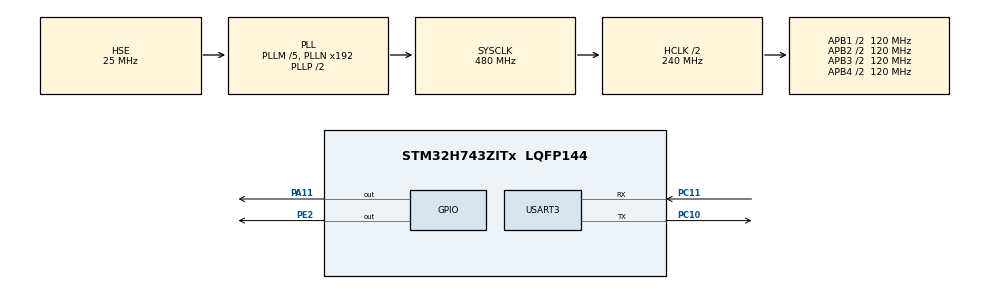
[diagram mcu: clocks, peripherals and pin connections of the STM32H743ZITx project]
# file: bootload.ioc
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CORTEX_M7.AccessPermission_S-Cortex_Memory_Protection_Unit_Region1_Settings_S=MPU_REGION_PRIV_RO
CORTEX_M7.AccessPermission_S-Cortex_Memory_Protection_Unit_Region2_Settings_S=MPU_REGION_FULL_ACCESS
CORTEX_M7.BaseAddress_S-Cortex_Memory_Protection_Unit_Region1_Settings_S=0x08000000
CORTEX_M7.BaseAddress_S-Cortex_Memory_Protection_Unit_Region2_Settings_S=0x30040000
CORTEX_M7.DisableExec_S-Cortex_Memory_Protection_Unit_Region2_Settings_S=MPU_INSTRUCTION_ACCESS_DISABLE
CORTEX_M7.Enable_S-Cortex_Memory_Protection_Unit_Region1_Settings_S=MPU_REGION_ENABLE
CORTEX_M7.Enable_S-Cortex_Memory_Protection_Unit_Region2_Settings_S=MPU_REGION_ENABLE
CORTEX_M7.IsCacheable_S-Cortex_Memory_Protection_Unit_Region1_Settings_S=MPU_ACCESS_CACHEABLE
CORTEX_M7.IsShareable_S-Cortex_Memory_Protection_Unit_Region2_Settings_S=MPU_ACCESS_SHAREABLE
CORTEX_M7.Number_S-Cortex_Memory_Protection_Unit_Region2_Settings_S=MPU_REGION_NUMBER2
CORTEX_M7.Size_S-Cortex_Memory_Protection_Unit_Region1_Settings_S=MPU_REGION_SIZE_2MB
CORTEX_M7.Size_S-Cortex_Memory_Protection_Unit_Region2_Settings_S=MPU_REGION_SIZE_32KB
CORTEX_M7.TypeExtField_S-Cortex_Memory_Protection_Unit_Region1_Settings_S=MPU_TEX_LEVEL1
CORTEX_M7.TypeExtField_S-Cortex_Memory_Protection_Unit_Region2_Settings_S=MPU_TEX_LEVEL1
CORTEX_M7.default_mode_Activation=1
Mcu.Family=STM32H7
Mcu.Name=STM32H743ZITx
Mcu.Package=LQFP144
NVIC.PriorityGroup=NVIC_PRIORITYGROUP_4
PA11.Signal=GPIO_Output
PA13\ (JTMS/SWDIO).Mode=Serial_Wire
PA13\ (JTMS/SWDIO).Signal=DEBUG_JTMS-SWDIO
PA14\ (JTCK/SWCLK).Mode=Serial_Wire
PA14\ (JTCK/SWCLK).Signal=DEBUG_JTCK-SWCLK
PC10.Mode=Asynchronous
PC10.Signal=USART3_TX
PC11.Mode=Asynchronous
PC11.Signal=USART3_RX
PE2.Signal=GPIO_Output
PH0-OSC_IN\ (PH0).Mode=HSE-External-Oscillator
PH0-OSC_IN\ (PH0).Signal=RCC_OSC_IN
PH1-OSC_OUT\ (PH1).Mode=HSE-External-Oscillator
PH1-OSC_OUT\ (PH1).Signal=RCC_OSC_OUT
ProjectManager.HeapSize=0x200
ProjectManager.StackSize=0x400
ProjectManager.TargetToolchain=MDK-ARM V5.32
RCC.ADCFreq_Value=50390625
RCC.APB1Freq_Value=120000000
RCC.APB2Freq_Value=120000000
RCC.APB3Freq_Value=120000000
RCC.APB4Freq_Value=120000000
RCC.CortexFreq_Value=480000000
RCC.D1PPRE=RCC_APB3_DIV2
RCC.D2PPRE1=RCC_APB1_DIV2
RCC.D2PPRE2=RCC_APB2_DIV2
RCC.D3PPRE=RCC_APB4_DIV2
RCC.DIVM1=5
RCC.DIVN1=192
RCC.HCLKFreq_Value=240000000
RCC.HPRE=RCC_HCLK_DIV2
RCC.PLLFRACN=0
RCC.PLLSourceVirtual=RCC_PLLSOURCE_HSE
RCC.SYSCLKFreq_VALUE=480000000
RCC.SYSCLKSource=RCC_SYSCLKSOURCE_PLLCLK
RCC.USBFreq_Value=480000000
USART3.VirtualMode-Asynchronous=VM_ASYNC
VP_MEMORYMAP_VS_MEMORYMAP.Mode=CurAppReg
board=custom

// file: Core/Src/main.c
/* USER CODE BEGIN Header */
/**
  ******************************************************************************
  * @file           : main.c
  * @brief          : Main program body
  ******************************************************************************
  * @attention
  *
  * Copyright (c) 2026 STMicroelectronics.
  * All rights reserved.
  *
  * This software is licensed under terms that can be found in the LICENSE file
  * in the root directory of this software component.
  * If no LICENSE file comes with this software, it is provided AS-IS.
  *
  ******************************************************************************
  */
/* USER CODE END Header */
#include "main.h"
#include "usart.h"
#include "gpio.h"

/* USER CODE BEGIN Includes */
#include "flash_if.h"
#include "ota_config.h"
#include "ota_metadata.h"
#include "ota_protocol.h"
#include "uart_if.h"
#include <stdio.h>
/* USER CODE END Includes */

/* USER CODE BEGIN PTD */
/** 閹煎瓨姊婚弫銈夊礂閵夈儱缍撻柛鎴ｅГ閺嗙喓鐚剧拠鑼偓?*/
typedef void (*application_entry_t)(void);
/* USER CODE END PTD */

void SystemClock_Config(void);
static void MPU_Config(void);
/* USER CODE BEGIN PFP */
/** 鏉堟挸鍤瑽oot鐠嬪啳鐦弮銉ョ箶 */
static void Boot_Log(const char *text);
/** 閺屻儴顕楀Σ鎴掔秴閸氬秶袨鐎涙顑佹稉?*/
static const char *Boot_GetSlotName(uint32_t slot);
/** 鏉堟挸鍤弽鍥╊劮娑撳骸宕勯崗顓＄箻閸掕埖鏆熼崐?*/
static void Boot_LogHexValue(const char *label, uint32_t value);
/** 鏉堟挸鍤崡鏇氶嚋濡叉垝缍呴惃鍕値濞夋洘鈧呭Ц閹?*/
static void Boot_LogSlotState(const OtaMetadata_TypeDef *metadata, uint32_t slot);
/** 鏉堟挸鍤稉銈勯嚋鎼存梻鏁ゅΣ鎴掔秴閻ㄥ嫬鐣弫瀵稿Ц閹?*/
static void Boot_LogImageSummary(const OtaMetadata_TypeDef *metadata);
/** 鏉堟挸鍤ぐ鎾冲閸忓啯鏆熼幑顔惧Ц閹?*/
static void Boot_LogMetadataState(const OtaMetadata_TypeDef *metadata);
/** 閸掋倖鏌囧Σ鎴掔秴閺勵垰鎯侀崣顖氭儙閸?*/
static uint32_t Boot_IsSlotBootable(const OtaMetadata_TypeDef *metadata, uint32_t slot);
/** 閼惧嘲褰囬崣锔跨娑擃亜绨查悽銊π担?*/
static uint32_t Boot_GetAlternateSlot(uint32_t slot);
/** 閸掓繂顫愰崠鏍帛鐠併倕鍘撻弫鐗堝祦楠炶泛鎮撳銉ュ嚒閺堝鏆呴崓蹇曞Ц閹?*/
static void Boot_InitMetadataDefaults(OtaMetadata_TypeDef *metadata);
/** 閺嶈宓佺€圭偤妾梹婊冨剼缂佹挻鐏夊〒鍛倞閺冪姵鏅ュΣ鎴掔秴閺嶅洩顔?*/
static void Boot_SanitizeMetadata(OtaMetadata_TypeDef *metadata);
/** 婢跺嫮鎮婂鍛瀼閹广垺蝎娴ｅ秴鑻熼崚閿嬫煀瑜版挸澧犲ú璇插З濡叉垝缍?*/
static void Boot_ApplyPendingSwitch(OtaMetadata_TypeDef *metadata);
/** 闁瀚ㄨぐ鎾冲鎼存柨鎯庨崝銊ф畱閻╊喗鐖ｅΣ鎴掔秴 */
static uint32_t Boot_SelectTargetSlot(OtaMetadata_TypeDef *metadata);
/** 鐠哄疇娴嗛崜宥嗗⒔鐞涘苯顦荤拋鎯у冀閸掓繂顫愰崠?*/
static void Boot_DeInitBeforeJump(void);
/** 鐠哄疇娴嗛崚鐗堝瘹鐎规艾绨查悽銊ユ勾閸р偓閹笛嗩攽 */
static void Boot_JumpToApplication(uint32_t app_address);
/** 鏉╂稑鍙咮oot鐢悂鈹楅幁銏狀槻濡€崇础 */
static void Boot_EnterRecoveryMode(OtaMetadata_TypeDef *metadata);
/* USER CODE END PFP */

/* USER CODE BEGIN 0 */
/** 鏉堟挸鍤瑽oot鐠嬪啳鐦弮銉ョ箶 */
static void Boot_Log(const char *text)
{
  (void)UartIf_SendString(text);
}

/** 閺屻儴顕楀Σ鎴掔秴閸氬秶袨鐎涙顑佹稉?*/
static const char *Boot_GetSlotName(uint32_t slot)
{
  if (slot == OTA_SLOT_APP1)
  {
    return "APP1";
  }

  if (slot == OTA_SLOT_APP2)
  {
    return "APP2";
  }

  return "NONE";
}

/** 鏉堟挸鍤弽鍥╊劮娑撳骸宕勯崗顓＄箻閸掕埖鏆熼崐?*/
static void Boot_LogHexValue(const char *label, uint32_t value)
{
  char text[80];

  (void)snprintf(text, sizeof(text), "%s0x%08lX\r\n", label, (unsigned long)value);
  Boot_Log(text);
}

/** 鏉堟挸鍤崡鏇氶嚋濡叉垝缍呴惃鍕値濞夋洘鈧呭Ц閹?*/
static void Boot_LogSlotState(const OtaMetadata_TypeDef *metadata, uint32_t slot)
{
  char text[160];
  uint32_t image_valid;
  uint32_t metadata_valid = 0U;
  uint32_t slot_address;
  uint32_t slot_size;

  slot_address = FlashIf_GetSlotAddress(slot);
  slot_size = FlashIf_GetSlotSize(slot);
  image_valid = FlashIf_IsApplicationValid(slot_address, slot_size);
  if (metadata != NULL)
  {
    metadata_valid = OtaMetadata_IsSlotMarkedValid(metadata, slot);
  }

  (void)snprintf(text,
                 sizeof(text),
                 "[BOOT] %s image_valid=%lu metadata_valid=%lu addr=0x%08lX size=0x%08lX\r\n",
                 Boot_GetSlotName(slot),
                 (unsigned long)image_valid,
                 (unsigned long)metadata_valid,
                 (unsigned long)slot_address,
                 (unsigned long)slot_size);
  Boot_Log(text);
}

/** 鏉堟挸鍤稉銈勯嚋鎼存梻鏁ゅΣ鎴掔秴閻ㄥ嫬鐣弫瀵稿Ц閹?*/
static void Boot_LogImageSummary(const OtaMetadata_TypeDef *metadata)
{
  Boot_LogSlotState(metadata, OTA_SLOT_APP1);
  Boot_LogSlotState(metadata, OTA_SLOT_APP2);
}

/** 鏉堟挸鍤ぐ鎾冲閸忓啯鏆熼幑顔惧Ц閹?*/
static void Boot_LogMetadataState(const OtaMetadata_TypeDef *metadata)
{
  char text[192];

  if (metadata == NULL)
  {
    Boot_Log("[BOOT] metadata pointer is null\r\n");
    return;
  }

  (void)snprintf(text,
                 sizeof(text),
                 "[BOOT] metadata seq=%lu active=%s(%lu) switch=%s(%lu) upgrade=%lu last_error=0x%08lX\r\n",
                 (unsigned long)metadata->sequence,
                 Boot_GetSlotName(metadata->active_slot),
                 (unsigned long)metadata->active_slot,
                 Boot_GetSlotName(metadata->switch_slot),
                 (unsigned long)metadata->switch_slot,
                 (unsigned long)metadata->upgrade_flag,
                 (unsigned long)metadata->last_error);
  Boot_Log(text);

  (void)snprintf(text,
                 sizeof(text),
                 "[BOOT] metadata app1_valid=%lu app2_valid=%lu app1_size=0x%08lX app2_size=0x%08lX\r\n",
                 (unsigned long)metadata->app1_valid,
                 (unsigned long)metadata->app2_valid,
                 (unsigned long)metadata->app1_size,
                 (unsigned long)metadata->app2_size);
  Boot_Log(text);
}

/** 閸掋倖鏌囧Σ鎴掔秴閺勵垰鎯侀崣顖氭儙閸?*/
static uint32_t Boot_IsSlotBootable(const OtaMetadata_TypeDef *metadata, uint32_t slot)
{
  uint32_t slot_address;
  uint32_t slot_size;

  if ((metadata == NULL) || (OtaMetadata_IsSlotMarkedValid(metadata, slot) == 0U))
  {
    return 0U;
  }

  slot_address = FlashIf_GetSlotAddress(slot);
  slot_size = FlashIf_GetSlotSize(slot);
  if ((slot_address == 0U) || (slot_size == 0U))
  {
    return 0U;
  }

  return FlashIf_IsApplicationValid(slot_address, slot_size);
}

/** 閼惧嘲褰囬崣锔跨娑擃亜绨查悽銊π担?*/
static uint32_t Boot_GetAlternateSlot(uint32_t slot)
{
  if (slot == OTA_SLOT_APP1)
  {
    return OTA_SLOT_APP2;
  }

  if (slot == OTA_SLOT_APP2)
  {
    return OTA_SLOT_APP1;
  }

  return OTA_SLOT_NONE;
}

/** 閸掓繂顫愰崠鏍帛鐠併倕鍘撻弫鐗堝祦楠炶泛鎮撳銉ュ嚒閺堝鏆呴崓蹇曞Ц閹?*/
static void Boot_InitMetadataDefaults(OtaMetadata_TypeDef *metadata)
{
  uint32_t app1_valid;
  uint32_t app2_valid;

  if (metadata == NULL)
  {
    return;
  }

  OtaMetadata_CreateDefault(metadata, OTA_DEFAULT_APP_SLOT);

  app1_valid = FlashIf_IsApplicationValid(OTA_APP1_ADDRESS, OTA_APP1_SIZE);
  app2_valid = FlashIf_IsApplicationValid(OTA_APP2_ADDRESS, OTA_APP2_SIZE);

  OtaMetadata_UpdateSlotInfo(metadata, OTA_SLOT_APP1, 0U, 0U, 0U, app1_valid);
  OtaMetadata_UpdateSlotInfo(metadata, OTA_SLOT_APP2, 0U, 0U, 0U, app2_valid);

  if ((app1_valid == 0U) && (app2_valid != 0U))
  {
    metadata->active_slot = OTA_SLOT_APP2;
  }
  else
  {
    metadata->active_slot = OTA_SLOT_APP1;
  }

  Boot_Log("[BOOT] default metadata select active slot: ");
  Boot_Log(Boot_GetSlotName(metadata->active_slot));
  Boot_Log("\r\n");
  Boot_LogHexValue("[BOOT] default metadata app1_valid: ", app1_valid);
  Boot_LogHexValue("[BOOT] default metadata app2_valid: ", app2_valid);

  metadata->switch_slot = OTA_SWITCH_FLAG_NONE;
  metadata->upgrade_flag = OTA_UPGRADE_FLAG_IDLE;
  metadata->last_error = OTA_STATUS_OK;

  if (OtaMetadata_Save(metadata) == HAL_OK)
  {
    Boot_Log("[BOOT] ota metadata created\r\n");
  }
  else
  {
    Boot_Log("[BOOT] ota metadata save failed\r\n");
  }
}

/** 閺嶈宓佺€圭偤妾梹婊冨剼缂佹挻鐏夊〒鍛倞閺冪姵鏅ュΣ鎴掔秴閺嶅洩顔?*/
static void Boot_SanitizeMetadata(OtaMetadata_TypeDef *metadata)
{
  uint32_t metadata_changed = 0U;

  if (metadata == NULL)
  {
    return;
  }

  if ((metadata->app1_valid != 0U) && (FlashIf_IsApplicationValid(OTA_APP1_ADDRESS, OTA_APP1_SIZE) == 0U))
  {
    OtaMetadata_UpdateSlotInfo(metadata, OTA_SLOT_APP1, 0U, 0U, 0U, 0U);
    metadata_changed = 1U;
  }

  if ((metadata->app2_valid != 0U) && (FlashIf_IsApplicationValid(OTA_APP2_ADDRESS, OTA_APP2_SIZE) == 0U))
  {
    OtaMetadata_UpdateSlotInfo(metadata, OTA_SLOT_APP2, 0U, 0U, 0U, 0U);
    metadata_changed = 1U;
  }

  if ((metadata->active_slot != OTA_SLOT_NONE) && (Boot_IsSlotBootable(metadata, metadata->active_slot) == 0U))
  {
    metadata->active_slot = OTA_SLOT_NONE;
    metadata_changed = 1U;
  }

  if ((metadata->switch_slot != OTA_SWITCH_FLAG_NONE) && (Boot_IsSlotBootable(metadata, metadata->switch_slot) == 0U))
  {
    metadata->switch_slot = OTA_SWITCH_FLAG_NONE;
    metadata_changed = 1U;
  }

  if (metadata_changed != 0U)
  {
    (void)OtaMetadata_Save(metadata);
  }
}

/** 婢跺嫮鎮婂鍛瀼閹广垺蝎娴ｅ秴鑻熼崚閿嬫煀瑜版挸澧犲ú璇插З濡叉垝缍?*/
static void Boot_ApplyPendingSwitch(OtaMetadata_TypeDef *metadata)
{
  if (metadata == NULL)
  {
    return;
  }

  if (metadata->switch_slot == OTA_SWITCH_FLAG_NONE)
  {
    return;
  }

  if (Boot_IsSlotBootable(metadata, metadata->switch_slot) != 0U)
  {
    Boot_Log("[BOOT] apply switch slot: ");
    Boot_Log(Boot_GetSlotName(metadata->switch_slot));
    Boot_Log("\r\n");
    metadata->active_slot = metadata->switch_slot;
  }
  else
  {
    Boot_Log("[BOOT] pending switch slot invalid\r\n");
    metadata->last_error = OTA_STATUS_VERIFY_ERROR;
  }

  metadata->switch_slot = OTA_SWITCH_FLAG_NONE;
  (void)OtaMetadata_Save(metadata);
}

/** 闁瀚ㄨぐ鎾冲鎼存柨鎯庨崝銊ф畱閻╊喗鐖ｅΣ鎴掔秴 */
static uint32_t Boot_SelectTargetSlot(OtaMetadata_TypeDef *metadata)
{
  uint32_t preferred_slot;
  uint32_t alternate_slot;

  if (metadata == NULL)
  {
    return OTA_SLOT_NONE;
  }

  preferred_slot = OtaMetadata_SelectBootSlot(metadata, OTA_DEFAULT_APP_SLOT);
  Boot_Log("[BOOT] preferred slot: ");
  Boot_Log(Boot_GetSlotName(preferred_slot));
  Boot_Log("\r\n");
  if (Boot_IsSlotBootable(metadata, preferred_slot) != 0U)
  {
    Boot_Log("[BOOT] preferred slot is bootable\r\n");
    return preferred_slot;
  }

  Boot_Log("[BOOT] preferred slot is not bootable, try alternate\r\n");
  alternate_slot = Boot_GetAlternateSlot(preferred_slot);
  Boot_Log("[BOOT] alternate slot: ");
  Boot_Log(Boot_GetSlotName(alternate_slot));
  Boot_Log("\r\n");
  if (Boot_IsSlotBootable(metadata, alternate_slot) != 0U)
  {
    Boot_Log("[BOOT] alternate slot is bootable\r\n");
    metadata->active_slot = alternate_slot;
    metadata->switch_slot = OTA_SWITCH_FLAG_NONE;
    (void)OtaMetadata_Save(metadata);
    return alternate_slot;
  }

  Boot_Log("[BOOT] alternate slot is also not bootable\r\n");
  return OTA_SLOT_NONE;
}

/** 鐠哄疇娴嗛崜宥嗗⒔鐞涘苯顦荤拋鎯у冀閸掓繂顫愰崠?*/
static void Boot_DeInitBeforeJump(void)
{
  uint32_t index;

  HAL_UART_DeInit(&huart3);
  HAL_RCC_DeInit();
  HAL_DeInit();

  SysTick->CTRL = 0U;
  SysTick->LOAD = 0U;
  SysTick->VAL = 0U;

  __disable_irq();

  for (index = 0U; index < 8U; index++)
  {
    NVIC->ICER[index] = 0xFFFFFFFFU;
    NVIC->ICPR[index] = 0xFFFFFFFFU;
  }
}

/** 鐠哄疇娴嗛崚鐗堝瘹鐎规艾绨查悽銊ユ勾閸р偓閹笛嗩攽 */
static void Boot_JumpToApplication(uint32_t app_address)
{
  uint32_t stack_pointer = *((volatile uint32_t *)app_address);
  uint32_t reset_handler = *((volatile uint32_t *)(app_address + 4U));
  application_entry_t application_entry = (application_entry_t)reset_handler;

  Boot_DeInitBeforeJump();

  SCB->VTOR = app_address;
  __DSB();
  __ISB();

  __set_MSP(stack_pointer);
  __enable_irq();

  application_entry();
}

/** 鏉╂稑鍙咮oot鐢悂鈹楅幁銏狀槻濡€崇础 */
static void Boot_EnterRecoveryMode(OtaMetadata_TypeDef *metadata)
{
  uint32_t ota_result;

  Boot_Log("[BOOT] no bootable image, enter recovery ota mode\r\n");
  ota_result = OtaProtocol_RunSession(metadata, 1U);
  if (ota_result == OTA_RUN_RESULT_UPDATE_DONE)
  {
    Boot_Log("[BOOT] ota success, reboot now\r\n");
    HAL_Delay(20);
    NVIC_SystemReset();
  }

  while (1)
  {
    HAL_GPIO_TogglePin(GPIOE, GPIO_PIN_2);
    HAL_GPIO_TogglePin(GPIOA, GPIO_PIN_11);
    HAL_Delay(200);
  }
}
/* USER CODE END 0 */

int main(void)
{
  /* USER CODE BEGIN 1 */
  OtaMetadata_TypeDef ota_metadata = {0};
  uint32_t ota_result;
  uint32_t target_slot;
  uint32_t target_address;
  /* USER CODE END 1 */

  /* MPU Configuration--------------------------------------------------------*/
  MPU_Config();

  /* MCU Configuration--------------------------------------------------------*/

  /* Reset of all peripherals, Initializes the Flash interface and the Systick. */
  HAL_Init();

  /* Configure the system clock */
  SystemClock_Config();

  /* Initialize all configured peripherals */
  MX_GPIO_Init();
  MX_USART3_UART_Init();
  /* USER CODE BEGIN 2 */
  Boot_Log("\r\n[BOOT] bootloader started\r\n");
  Boot_LogHexValue("[BOOT] metadata address: ", OTA_METADATA_ADDRESS);
  Boot_LogImageSummary(NULL);

  if (OtaMetadata_Load(&ota_metadata) == 0U)
  {
    Boot_Log("[BOOT] ota metadata invalid, rebuild default\r\n");
    Boot_InitMetadataDefaults(&ota_metadata);
    Boot_LogMetadataState(&ota_metadata);
    Boot_LogImageSummary(&ota_metadata);
  }
  else
  {
    Boot_Log("[BOOT] ota metadata load ok\r\n");
    Boot_LogMetadataState(&ota_metadata);
    Boot_LogImageSummary(&ota_metadata);
    Boot_SanitizeMetadata(&ota_metadata);
    Boot_Log("[BOOT] metadata after sanitize\r\n");
    Boot_LogMetadataState(&ota_metadata);
    Boot_LogImageSummary(&ota_metadata);
  }

  Boot_ApplyPendingSwitch(&ota_metadata);
  Boot_Log("[BOOT] metadata after apply switch\r\n");
  Boot_LogMetadataState(&ota_metadata);
  Boot_LogImageSummary(&ota_metadata);

  if ((ota_metadata.upgrade_flag == OTA_UPGRADE_FLAG_REQUEST) ||
      (ota_metadata.upgrade_flag == OTA_UPGRADE_FLAG_ACTIVE))
  {
    Boot_Log("[BOOT] force ota mode by upgrade flag\r\n");
    ota_result = OtaProtocol_RunSession(&ota_metadata, 1U);
  }
  else
  {
    ota_result = OtaProtocol_RunSession(&ota_metadata, 0U);
  }

  Boot_Log("[BOOT] metadata before select target\r\n");
  Boot_LogMetadataState(&ota_metadata);
  Boot_LogImageSummary(&ota_metadata);

  if (ota_result == OTA_RUN_RESULT_UPDATE_DONE)
  {
    Boot_Log("[BOOT] ota finished, reboot now\r\n");
    HAL_Delay(20);
    NVIC_SystemReset();
  }

  target_slot = Boot_SelectTargetSlot(&ota_metadata);
  if (target_slot == OTA_SLOT_NONE)
  {
    Boot_EnterRecoveryMode(&ota_metadata);
  }

  target_address = FlashIf_GetSlotAddress(target_slot);
  Boot_Log("[BOOT] selected target: ");
  Boot_Log(Boot_GetSlotName(target_slot));
  Boot_Log("\r\n");
  Boot_Log("[BOOT] target image valid, jumping...\r\n");
  HAL_Delay(20);
  Boot_JumpToApplication(target_address);
  /* USER CODE END 2 */

  /* Infinite loop */
  while (1)
  {

  }
}

void SystemClock_Config(void)
{
  RCC_OscInitTypeDef RCC_OscInitStruct = {0};
  RCC_ClkInitTypeDef RCC_ClkInitStruct = {0};

  /** Supply configuration update enable
  */
  HAL_PWREx_ConfigSupply(PWR_LDO_SUPPLY);

  /** Configure the main internal regulator output voltage
  */
  __HAL_PWR_VOLTAGESCALING_CONFIG(PWR_REGULATOR_VOLTAGE_SCALE0);

  while(!__HAL_PWR_GET_FLAG(PWR_FLAG_VOSRDY)) {}

  /** Initializes the RCC Oscillators according to the specified parameters
  * in the RCC_OscInitTypeDef structure.
  */
  RCC_OscInitStruct.OscillatorType = RCC_OSCILLATORTYPE_HSE;
  RCC_OscInitStruct.HSEState = RCC_HSE_ON;
  RCC_OscInitStruct.PLL.PLLState = RCC_PLL_ON;
  RCC_OscInitStruct.PLL.PLLSource = RCC_PLLSOURCE_HSE;
  RCC_OscInitStruct.PLL.PLLM = 5;
  RCC_OscInitStruct.PLL.PLLN = 192;
  RCC_OscInitStruct.PLL.PLLP = 2;
  RCC_OscInitStruct.PLL.PLLQ = 2;
  RCC_OscInitStruct.PLL.PLLR = 2;
  RCC_OscInitStruct.PLL.PLLRGE = RCC_PLL1VCIRANGE_2;
  RCC_OscInitStruct.PLL.PLLVCOSEL = RCC_PLL1VCOWIDE;
  RCC_OscInitStruct.PLL.PLLFRACN = 0;
  if (HAL_RCC_OscConfig(&RCC_OscInitStruct) != HAL_OK)
  {
    Error_Handler();
  }

  /** Initializes the CPU, AHB and APB buses clocks
  */
  RCC_ClkInitStruct.ClockType = RCC_CLOCKTYPE_HCLK|RCC_CLOCKTYPE_SYSCLK
                              |RCC_CLOCKTYPE_PCLK1|RCC_CLOCKTYPE_PCLK2
                              |RCC_CLOCKTYPE_D3PCLK1|RCC_CLOCKTYPE_D1PCLK1;
  RCC_ClkInitStruct.SYSCLKSource = RCC_SYSCLKSOURCE_PLLCLK;
  RCC_ClkInitStruct.SYSCLKDivider = RCC_SYSCLK_DIV1;
  RCC_ClkInitStruct.AHBCLKDivider = RCC_HCLK_DIV2;
  RCC_ClkInitStruct.APB3CLKDivider = RCC_APB3_DIV2;
  RCC_ClkInitStruct.APB1CLKDivider = RCC_APB1_DIV2;
  RCC_ClkInitStruct.APB2CLKDivider = RCC_APB2_DIV2;
  RCC_ClkInitStruct.APB4CLKDivider = RCC_APB4_DIV2;

  if (HAL_RCC_ClockConfig(&RCC_ClkInitStruct, FLASH_LATENCY_4) != HAL_OK)
  {
    Error_Handler();
  }
}

 /* MPU Configuration */
void MPU_Config(void)
{
  MPU_Region_InitTypeDef MPU_InitStruct = {0};

  /* Disables the MPU */
  HAL_MPU_Disable();

  /** Initializes and configures the Region and the memory to be protected
  */
  MPU_InitStruct.Enable = MPU_REGION_ENABLE;
  MPU_InitStruct.Number = MPU_REGION_NUMBER0;
  MPU_InitStruct.BaseAddress = 0x0;
  MPU_InitStruct.Size = MPU_REGION_SIZE_4GB;
  MPU_InitStruct.SubRegionDisable = 0x87;
  MPU_InitStruct.TypeExtField = MPU_TEX_LEVEL0;
  MPU_InitStruct.AccessPermission = MPU_REGION_NO_ACCESS;
  MPU_InitStruct.DisableExec = MPU_INSTRUCTION_ACCESS_DISABLE;
  MPU_InitStruct.IsShareable = MPU_ACCESS_SHAREABLE;
  MPU_InitStruct.IsCacheable = MPU_ACCESS_NOT_CACHEABLE;
  MPU_InitStruct.IsBufferable = MPU_ACCESS_NOT_BUFFERABLE;

  HAL_MPU_ConfigRegion(&MPU_InitStruct);

  /** Initializes and configures the Region and the memory to be protected
  */
  MPU_InitStruct.Number = MPU_REGION_NUMBER1;
  MPU_InitStruct.BaseAddress = 0x08000000;
  MPU_InitStruct.Size = MPU_REGION_SIZE_2MB;
  MPU_InitStruct.SubRegionDisable = 0x0;
  MPU_InitStruct.TypeExtField = MPU_TEX_LEVEL1;
  MPU_InitStruct.AccessPermission = MPU_REGION_FULL_ACCESS;
  MPU_InitStruct.DisableExec = MPU_INSTRUCTION_ACCESS_ENABLE;
  MPU_InitStruct.IsShareable = MPU_ACCESS_NOT_SHAREABLE;
  MPU_InitStruct.IsCacheable = MPU_ACCESS_CACHEABLE;

  HAL_MPU_ConfigRegion(&MPU_InitStruct);

  /** Initializes and configures the Region and the memory to be protected
  */
  MPU_InitStruct.Number = MPU_REGION_NUMBER2;
  MPU_InitStruct.BaseAddress = 0x30040000;
  MPU_InitStruct.Size = MPU_REGION_SIZE_32KB;
  MPU_InitStruct.AccessPermission = MPU_REGION_FULL_ACCESS;
  MPU_InitStruct.DisableExec = MPU_INSTRUCTION_ACCESS_DISABLE;
  MPU_InitStruct.IsShareable = MPU_ACCESS_SHAREABLE;
  MPU_InitStruct.IsCacheable = MPU_ACCESS_NOT_CACHEABLE;

  HAL_MPU_ConfigRegion(&MPU_InitStruct);
  /* Enables the MPU */
  HAL_MPU_Enable(MPU_PRIVILEGED_DEFAULT);
}

void Error_Handler(void)
{
  __disable_irq();
  while (1)
  {
  }
}
